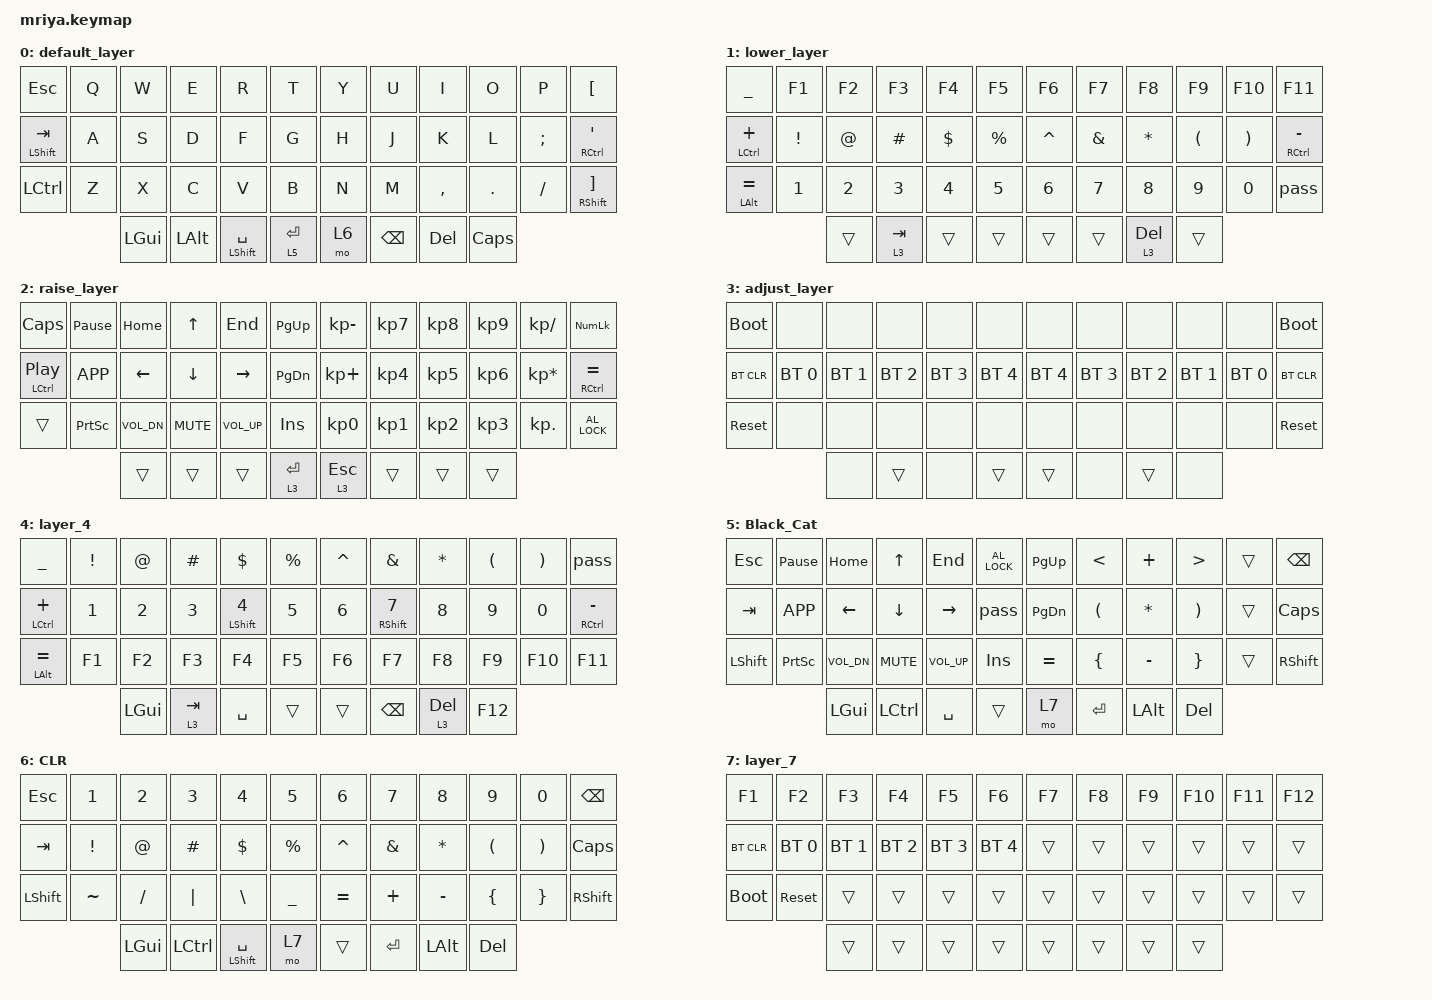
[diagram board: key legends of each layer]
/*
 * Copyright (c) 2023 Andrei Gaevskii
 *
 * SPDX-License-Identifier: MIT
 */

#include <behaviors.dtsi>
#include <dt-bindings/zmk/bt.h>
#include <dt-bindings/zmk/keys.h>

#define DEF 0
#define LWR 1
#define RSE 2
#define ADJ 3

&lt { quick_tap_ms = <200>; };

&mt { quick_tap_ms = <200>; };

/ {
    macros {
        pass: pass {
            compatible = "zmk,behavior-macro";
            #binding-cells = <0>;
            bindings = <&kp N6 &kp N1 &kp S &kp O &kp D &kp E &kp P &kp U>;
            label = "PASS";
        };
    };

    combos {
        compatible = "zmk,combos";

        Bracket {
            bindings = <&kp LEFT_BRACKET>;
            key-positions = <16 11>;
        };
    };

    keymap {
        compatible = "zmk,keymap";

        default_layer {
            bindings = <
  &kp ESC             &kp Q  &kp W     &kp E         &kp R                 &kp T          &kp Y  &kp U          &kp I       &kp O         &kp P     &kp LEFT_BRACKET
  &mt LEFT_SHIFT TAB  &kp A  &kp S     &kp D         &kp F                 &kp G          &kp H  &kp J          &kp K       &kp L         &kp SEMI  &mt RCTRL SQT
  &kp LCTRL           &kp Z  &kp X     &kp C         &kp V                 &kp B          &kp N  &kp M          &kp COMMA   &kp DOT       &kp FSLH  &mt RIGHT_SHIFT RIGHT_BRACKET
                             &kp LGUI  &kp LEFT_ALT  &mt LEFT_SHIFT SPACE  &lt 5 ENTER    &mo 6  &kp BACKSPACE  &kp DELETE  &kp CAPSLOCK
            >;
        };

        lower_layer {
            bindings = <
  &kp UNDER       &kp F1    &kp F2  &kp F3     &kp F4    &kp F5       &kp F6     &kp F7    &kp F8     &kp F9    &kp F10   &kp F11
  &mt LCTRL PLUS  &kp EXCL  &kp AT  &kp HASH   &kp DLLR  &kp PRCNT    &kp CARET  &kp AMPS  &kp STAR   &kp LPAR  &kp RPAR  &mt RCTRL MINUS
  &mt LALT EQUAL  &kp N1    &kp N2  &kp N3     &kp N4    &kp N5       &kp N6     &kp N7    &kp N8     &kp N9    &kp N0    &pass
                            &trans  &lt 3 TAB  &trans    &trans       &trans     &trans    &lt 3 DEL  &trans
            >;
        };

        raise_layer {
            bindings = <
  &kp CAPS                &kp PAUSE_BREAK  &kp HOME      &kp UP      &kp END       &kp PG_UP    &kp KP_MINUS     &kp KP_NUMBER_7  &kp KP_NUMBER_8  &kp KP_N9        &kp KP_SLASH     &kp KP_NUMLOCK
  &mt LCTRL C_PLAY_PAUSE  &kp K_APP        &kp LEFT      &kp DOWN    &kp RIGHT     &kp PG_DN    &kp KP_PLUS      &kp KP_NUMBER_4  &kp KP_NUMBER_5  &kp KP_NUMBER_6  &kp KP_MULTIPLY  &mt RCTRL EQUAL
  &trans                  &kp PSCRN        &kp C_VOL_DN  &kp C_MUTE  &kp C_VOL_UP  &kp INS      &kp KP_NUMBER_0  &kp KP_NUMBER_1  &kp KP_NUMBER_2  &kp KP_NUMBER_3  &kp KP_DOT       &kp C_AL_LOCK
                                           &trans        &trans      &trans        &lt 3 RET    &lt 3 ESC        &trans           &trans           &trans
            >;
        };

        adjust_layer {
            bindings = <
  &bootloader  &none         &none         &none         &none         &none           &none         &none         &none         &none         &none         &bootloader
  &bt BT_CLR   &bt BT_SEL 0  &bt BT_SEL 1  &bt BT_SEL 2  &bt BT_SEL 3  &bt BT_SEL 4    &bt BT_SEL 4  &bt BT_SEL 3  &bt BT_SEL 2  &bt BT_SEL 1  &bt BT_SEL 0  &bt BT_CLR
  &sys_reset   &none         &none         &none         &none         &none           &none         &none         &none         &none         &none         &sys_reset
                             &none         &trans        &none         &trans          &trans        &none         &trans        &none
            >;
        };

        layer_4 {
            bindings = <
  &kp UNDER       &kp EXCL  &kp AT    &kp HASH   &kp DLLR           &kp PRCNT    &kp CARET  &kp AMPS            &kp STAR   &kp LPAR  &kp RPAR  &pass
  &mt LCTRL PLUS  &kp N1    &kp N2    &kp N3     &mt LEFT_SHIFT N4  &kp N5       &kp N6     &mt RIGHT_SHIFT N7  &kp N8     &kp N9    &kp N0    &mt RCTRL MINUS
  &mt LALT EQUAL  &kp F1    &kp F2    &kp F3     &kp F4             &kp F5       &kp F6     &kp F7              &kp F8     &kp F9    &kp F10   &kp F11
                            &kp LGUI  &lt 3 TAB  &kp SPACE          &trans       &trans     &kp BACKSPACE       &lt 3 DEL  &kp F12
            >;
        };

        Black_Cat {
            bindings = <
  &kp ESC    &kp PAUSE_BREAK  &kp HOME      &kp UP_ARROW    &kp END          &kp C_AL_LOCK    &kp PG_UP  &kp LESS_THAN         &kp PLUS      &kp GREATER_THAN       &trans  &kp BSPC
  &kp TAB    &kp K_APP        &kp LEFT      &kp DOWN_ARROW  &kp RIGHT        &pass            &kp PG_DN  &kp LEFT_PARENTHESIS  &kp ASTERISK  &kp RIGHT_PARENTHESIS  &trans  &kp CAPS
  &kp LSHFT  &kp PRINTSCREEN  &kp C_VOL_DN  &kp C_MUTE      &kp C_VOLUME_UP  &kp INS          &kp EQUAL  &kp LEFT_BRACE        &kp MINUS     &kp RIGHT_BRACE        &trans  &kp RSHFT
                              &kp LGUI      &kp LCTRL       &kp SPACE        &trans           &mo 7      &kp ENTER             &kp LALT      &kp DELETE
            >;
        };

        CLR {
            bindings = <
  &kp ESC    &kp N1           &kp N2       &kp N3     &kp N4                &kp N5            &kp N6     &kp N7         &kp N8        &kp N9                &kp N0                 &kp BSPC
  &kp TAB    &kp EXCLAMATION  &kp AT_SIGN  &kp POUND  &kp DOLLAR            &kp PERCENT       &kp CARET  &kp AMPERSAND  &kp ASTERISK  &kp LEFT_PARENTHESIS  &kp RIGHT_PARENTHESIS  &kp CAPSLOCK
  &kp LSHFT  &kp TILDE        &kp SLASH    &kp PIPE   &kp BACKSLASH         &kp UNDERSCORE    &kp EQUAL  &kp PLUS       &kp MINUS     &kp LEFT_BRACE        &kp RIGHT_BRACE        &kp RSHFT
                              &kp LGUI     &kp LCTRL  &mt LEFT_SHIFT SPACE  &mo 7             &trans     &kp ENTER      &kp LALT      &kp DELETE
            >;
        };

        layer_7 {
            bindings = <
  &kp F1       &kp F2        &kp F3        &kp F4        &kp F5        &kp F6          &kp F7  &kp F8  &kp F9  &kp F10  &kp F11  &kp F12
  &bt BT_CLR   &bt BT_SEL 0  &bt BT_SEL 1  &bt BT_SEL 2  &bt BT_SEL 3  &bt BT_SEL 4    &trans  &trans  &trans  &trans   &trans   &trans
  &bootloader  &sys_reset    &trans        &trans        &trans        &trans          &trans  &trans  &trans  &trans   &trans   &trans
                             &trans        &trans        &trans        &trans          &trans  &trans  &trans  &trans
            >;
        };
    };
};
